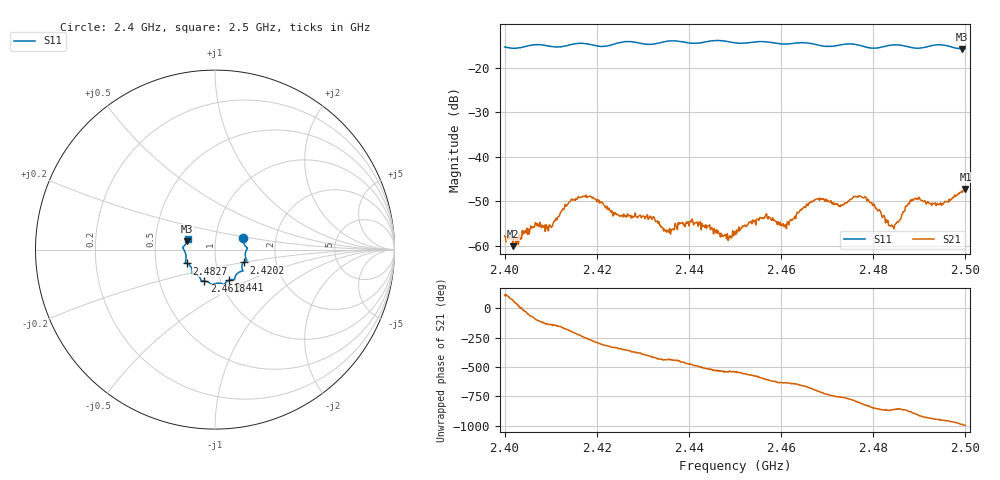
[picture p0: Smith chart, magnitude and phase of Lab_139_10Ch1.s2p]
# Hz S RI R 50
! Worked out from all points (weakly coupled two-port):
!   601 points, 2.4 GHz to 2.5 GHz, reference 50 ohm
!   highest |S21| = -47.28 dB at 2.5 GHz (marker M1); lowest = -60.1 dB at 2.4018 GHz (marker M2)
!   lowest |S11| = -15.8 dB at 2.4992 GHz (marker M3), VSWR 1.39, Z = 36.4 + j3.62 ohm
!   |S11| at or under -10 dB: start of sweep to end of sweep
!   S12 and S22 are empty: the file has one direction only
!   S11 on the Smith chart (normalised r, x): 2.4 GHz: 1.36, +0.18; 2.4202 GHz: 1.36, -0.20; 2.441 GHz: 1.10, -0.39; 2.4618 GHz: 0.84, -0.30; 2.4827 GHz: 0.72, -0.11; 2.5 GHz: 0.73, +0.09
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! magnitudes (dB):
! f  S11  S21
! 2.4 GHz  -15.4  -57.8
! 2.4018 GHz  -15.7  -60.1
! 2.4072 GHz  -14.8  -55.0
! 2.41 GHz  -15.2  -55.7
! 2.4167 GHz  -14.5  -49.0
! 2.4202 GHz  -15.2  -49.6
! 2.424 GHz  -14.7  -52.6
! 2.4333 GHz  -14.5  -55.0
! 2.4355 GHz  -14.1  -56.8
! 2.441 GHz  -14.6  -55.3
! 2.45 GHz  -14.4  -56.8
! 2.4563 GHz  -14.2  -53.9
! 2.4618 GHz  -14.7  -54.6
! 2.4667 GHz  -14.6  -50.0
! 2.4778 GHz  -15.2  -49.2
! 2.4827 GHz  -15.2  -54.9
! 2.4833 GHz  -15.0  -55.4
! 2.4848 GHz  -14.9  -55.1
! 2.4887 GHz  -15.6  -49.8
! 2.4947 GHz  -14.9  -50.4
! 2.4992 GHz  -15.8  -47.8
! 2.5 GHz  -15.7  -47.3
